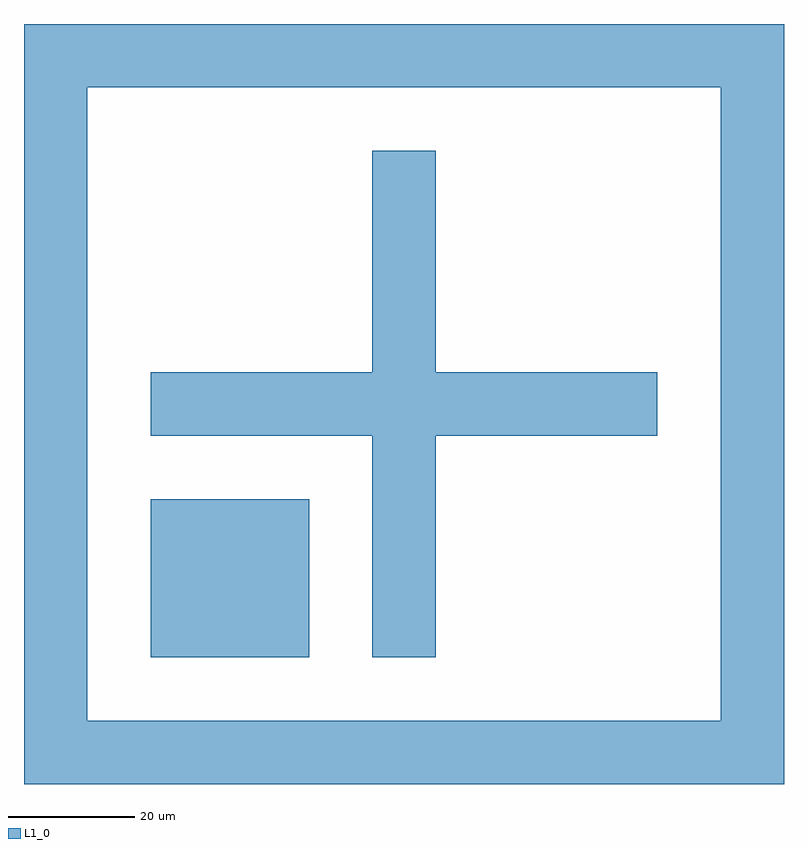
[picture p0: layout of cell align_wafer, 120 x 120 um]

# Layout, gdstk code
import gdstk
lib = gdstk.Library(unit=1e-6, precision=1e-09)
def R(c, l, rs):  # rectangles x0, y0, x1, y1
    for r in rs: c.add(gdstk.rectangle(r[:2], r[2:], *l))
L1_0 = (1, 0)

cross_layer1_0_length80_ = lib.new_cell('cross_layer1_0_length80_width10')
R(cross_layer1_0_length80_, L1_0, [(-5,-40,5,40), (-40,-5,40,5)])

rectangle_centeredtrue__ = lib.new_cell('rectangle_centeredTrue__18ef110b')
R(rectangle_centeredtrue__, L1_0, [(-60,-5,60,5)])

c_rectangle_centeredtrue__ = lib.new_cell('rectangle_centeredTrue__32d9da05')
R(c_rectangle_centeredtrue__, L1_0, [(-5,-55,5,55)])

c_rectangle_centeredtrue___ = lib.new_cell('rectangle_centeredTrue__1c95bfb4')
R(c_rectangle_centeredtrue___, L1_0, [(-12.5,-12.5,12.5,12.5)])

align_wafer = lib.new_cell('align_wafer')
align_wafer.add(gdstk.Reference(cross_layer1_0_length80_, (0,0)))
align_wafer.add(gdstk.Reference(rectangle_centeredtrue__, (0,55)))
align_wafer.add(gdstk.Reference(rectangle_centeredtrue__, (0,-55)))
align_wafer.add(gdstk.Reference(c_rectangle_centeredtrue__, (-55,0)))
align_wafer.add(gdstk.Reference(c_rectangle_centeredtrue__, (55,0)))
align_wafer.add(gdstk.Reference(c_rectangle_centeredtrue___, (-27.5,-27.5)))

lib.write_gds('align_wafer.gds')
